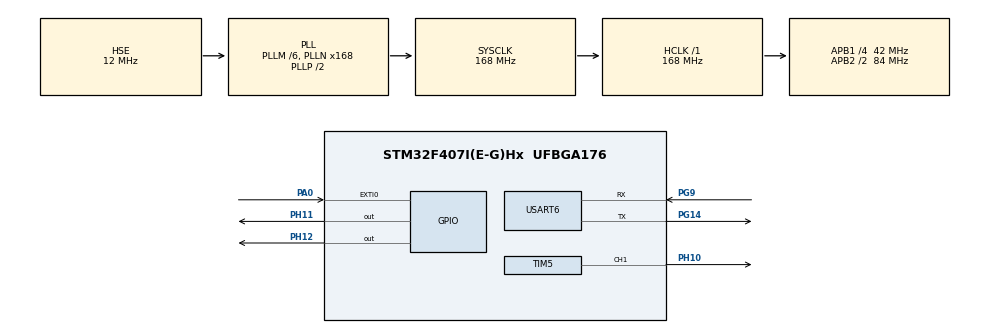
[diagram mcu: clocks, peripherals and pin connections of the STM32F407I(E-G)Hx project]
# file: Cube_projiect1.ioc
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Mcu.Family=STM32F4
Mcu.Name=STM32F407I(E-G)Hx
Mcu.Package=UFBGA176
NVIC.EXTI0_IRQn=true\:0\:0\:false\:false\:true\:true\:true\:true
NVIC.PriorityGroup=NVIC_PRIORITYGROUP_4
NVIC.USART6_IRQn=true\:0\:0\:false\:false\:true\:true\:true\:true
PA0-WKUP.GPIO_PuPd=GPIO_PULLDOWN
PA0-WKUP.Signal=GPXTI0
PA13.Mode=Serial_Wire
PA13.Signal=SYS_JTMS-SWDIO
PA14.Mode=Serial_Wire
PA14.Signal=SYS_JTCK-SWCLK
PG14.Mode=Asynchronous
PG14.Signal=USART6_TX
PG9.Mode=Asynchronous
PG9.Signal=USART6_RX
PH0-OSC_IN.Mode=HSE-External-Oscillator
PH0-OSC_IN.Signal=RCC_OSC_IN
PH1-OSC_OUT.Mode=HSE-External-Oscillator
PH1-OSC_OUT.Signal=RCC_OSC_OUT
PH10.Signal=S_TIM5_CH1
PH11.PinState=GPIO_PIN_SET
PH11.Signal=GPIO_Output
PH12.PinState=GPIO_PIN_SET
PH12.Signal=GPIO_Output
ProjectManager.HeapSize=0x200
ProjectManager.StackSize=0x400
ProjectManager.TargetToolchain=EWARM V8.50
RCC.48MHZClocksFreq_Value=84000000
RCC.AHBFreq_Value=168000000
RCC.APB1CLKDivider=RCC_HCLK_DIV4
RCC.APB1Freq_Value=42000000
RCC.APB1TimFreq_Value=84000000
RCC.APB2CLKDivider=RCC_HCLK_DIV2
RCC.APB2Freq_Value=84000000
RCC.APB2TimFreq_Value=168000000
RCC.CortexFreq_Value=168000000
RCC.HCLKFreq_Value=168000000
RCC.HSE_VALUE=12000000
RCC.HSI_VALUE=16000000
RCC.LSE_VALUE=32768
RCC.PLLM=6
RCC.PLLN=168
RCC.PLLSourceVirtual=RCC_PLLSOURCE_HSE
RCC.SYSCLKFreq_VALUE=168000000
RCC.SYSCLKSource=RCC_SYSCLKSOURCE_PLLCLK
RCC.VCOOutputFreq_Value=336000000
SH.S_TIM5_CH1.0=TIM5_CH1,PWM Generation1 CH1
TIM5.Channel-PWM\ Generation1\ CH1=TIM_CHANNEL_1
TIM5.Period=249
TIM5.Prescaler=83
USART6.VirtualMode=VM_ASYNC
VP_TIM5_VS_ClockSourceINT.Mode=Internal
board=custom

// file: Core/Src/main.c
/* USER CODE BEGIN Header */
/**
  ******************************************************************************
  * @file           : main.c
  * @brief          : Main program body
  ******************************************************************************
  * @attention
  *
  * Copyright (c) 2026 STMicroelectronics.
  * All rights reserved.
  *
  * This software is licensed under terms that can be found in the LICENSE file
  * in the root directory of this software component.
  * If no LICENSE file comes with this software, it is provided AS-IS.
  *
  ******************************************************************************
  */
/* USER CODE END Header */
#include "main.h"

/* USER CODE BEGIN Includes */
#include <string.h>
/* USER CODE END Includes */

TIM_HandleTypeDef htim5;

UART_HandleTypeDef huart6;

/* USER CODE BEGIN PV */
volatile uint8_t g_mode = 0U;    /* 0=两灯同步闪烁; 1=两灯交替闪烁（按键中断切换） */
uint8_t  rx_byte;                /* 串口每次收到 1 字节 */
char     cmd_buf[16];            /* 命令缓冲区 */
uint8_t  cmd_len = 0U;           /* 命令长度 */
volatile uint8_t g_send_ok = 0U; /* 需要回复 "OK" 的标志 */
/* USER CODE END PV */

void SystemClock_Config(void);
static void MX_GPIO_Init(void);
static void MX_TIM5_Init(void);
static void MX_USART6_UART_Init(void);

/* USER CODE BEGIN 0 */
/**
  * @brief  串口接收完成回调：每收到 1 字节调用一次（在中断里）
  * @note   收到一行后判断是不是 "change"，是就开启按键中断
  */
void HAL_UART_RxCpltCallback(UART_HandleTypeDef *huart)
{
  if (huart->Instance == USART6)
  {
    char c = (char)rx_byte;

    if ((c == '\r') || (c == '\n'))          /* 一行结束 */
    {
      cmd_buf[cmd_len] = '\0';
      if (strcmp(cmd_buf, "change") == 0)
      {
        g_mode ^= 1U;          /* 和按 PA0 一样：进入/退出中断模式 */
        g_send_ok = 1U;        /* 回一句 OK */
      }
      else if (strcmp(cmd_buf, "start") == 0)
      {
        g_send_ok = 1U;        /* 收到 start 回 OK（调试用） */
      }
      cmd_len = 0U;
    }
    else if (cmd_len < (sizeof(cmd_buf) - 1U))
    {
      cmd_buf[cmd_len++] = c;                  /* 拼接命令 */
    }

    HAL_UART_Receive_IT(&huart6, &rx_byte, 1U);  /* 继续收下一字节 */
  }
}
/* USER CODE END 0 */

int main(void)
{

  /* USER CODE BEGIN 1 */
  uint32_t blink_tick = HAL_GetTick();   /* 上次闪烁翻转时刻 */
  uint8_t  alt_level  = 0U;              /* 交替闪烁相位 */
  /* USER CODE END 1 */

  /* MCU Configuration--------------------------------------------------------*/

  /* Reset of all peripherals, Initializes the Flash interface and the Systick. */
  HAL_Init();

  /* Configure the system clock */
  SystemClock_Config();

  /* Initialize all configured peripherals */
  MX_GPIO_Init();
  MX_TIM5_Init();
  MX_USART6_UART_Init();
  /* USER CODE BEGIN 2 */
  HAL_TIM_PWM_Start(&htim5, TIM_CHANNEL_1);           /* 启动 PH10 (TIM5_CH1) PWM */
  __HAL_TIM_SET_COMPARE(&htim5, TIM_CHANNEL_1, 0U);   /* 初始占空比 0，灯灭 */

  /* 上电向电脑发送一条消息 */
  {
    const char boot[] = "I'm already\r\n";
    HAL_UART_Transmit(&huart6, (uint8_t *)boot, sizeof(boot) - 1U, 100U);
  }

  /* 按键中断保持开启：按 PA0 即可进入/退出中断模式 */
  HAL_NVIC_EnableIRQ(EXTI0_IRQn);

  /* 启动串口接收中断（每次收 1 字节） */
  HAL_UART_Receive_IT(&huart6, &rx_byte, 1U);
  /* USER CODE END 2 */

  /* Infinite loop */
  /* USER CODE BEGIN WHILE */
  while (1)
  {
    /* 收到 "change" 后回复一句 */
    if (g_send_ok != 0U)
    {
      const char ok[] = "OK\r\n";
      HAL_UART_Transmit(&huart6, (uint8_t *)ok, sizeof(ok) - 1U, 100U);
      g_send_ok = 0U;
    }

    /* ① PH11/PH12 闪烁（保留原逻辑：非中断同步、中断交替，500ms） */
    if ((HAL_GetTick() - blink_tick) >= 500U)
    {
      blink_tick = HAL_GetTick();

      if (g_mode == 0U)
      {
        HAL_GPIO_TogglePin(GPIOH, GPIO_PIN_11 | GPIO_PIN_12);   /* 同步闪烁 */
      }
      else
      {
        alt_level ^= 1U;                                        /* 交替闪烁 */
       /* HAL_GPIO_WritePin(GPIOH, GPIO_PIN_11, (alt_level != 0U) ? GPIO_PIN_SET : GPIO_PIN_RESET);
        HAL_GPIO_WritePin(GPIOH, GPIO_PIN_12, (alt_level != 0U) ? GPIO_PIN_RESET : GPIO_PIN_SET);*/
      }
    }

    /* ② 进入中断模式后开启 PH10 呼吸灯：用 for 循环做 渐亮 + 渐灭 */
    if (g_mode != 0U)
    {
      for (uint16_t duty = 0U; (duty <= 250U) && (g_mode != 0U); duty += 5U)
      {
        __HAL_TIM_SET_COMPARE(&htim5, TIM_CHANNEL_1, duty);     /* 渐亮 */
        HAL_Delay(10);
      }
      for (uint16_t duty = 250U; (duty > 0U) && (g_mode != 0U); duty -= 5U)
      {
        __HAL_TIM_SET_COMPARE(&htim5, TIM_CHANNEL_1, duty);     /* 渐灭 */
        HAL_Delay(10);
      }
    }
    else
    {
      __HAL_TIM_SET_COMPARE(&htim5, TIM_CHANNEL_1, 0U);         /* 非中断：PH10 灭 */
    }
    /* USER CODE END WHILE */

  }
}

void SystemClock_Config(void)
{
  RCC_OscInitTypeDef RCC_OscInitStruct = {0};
  RCC_ClkInitTypeDef RCC_ClkInitStruct = {0};

  /** Configure the main internal regulator output voltage
  */
  __HAL_RCC_PWR_CLK_ENABLE();
  __HAL_PWR_VOLTAGESCALING_CONFIG(PWR_REGULATOR_VOLTAGE_SCALE1);

  /** Initializes the RCC Oscillators according to the specified parameters
  * in the RCC_OscInitTypeDef structure.
  */
  RCC_OscInitStruct.OscillatorType = RCC_OSCILLATORTYPE_HSE;
  RCC_OscInitStruct.HSEState = RCC_HSE_ON;
  RCC_OscInitStruct.PLL.PLLState = RCC_PLL_ON;
  RCC_OscInitStruct.PLL.PLLSource = RCC_PLLSOURCE_HSE;
  RCC_OscInitStruct.PLL.PLLM = 6;
  RCC_OscInitStruct.PLL.PLLN = 168;
  RCC_OscInitStruct.PLL.PLLP = RCC_PLLP_DIV2;
  RCC_OscInitStruct.PLL.PLLQ = 4;
  if (HAL_RCC_OscConfig(&RCC_OscInitStruct) != HAL_OK)
  {
    Error_Handler();
  }

  /** Initializes the CPU, AHB and APB buses clocks
  */
  RCC_ClkInitStruct.ClockType = RCC_CLOCKTYPE_HCLK|RCC_CLOCKTYPE_SYSCLK
                              |RCC_CLOCKTYPE_PCLK1|RCC_CLOCKTYPE_PCLK2;
  RCC_ClkInitStruct.SYSCLKSource = RCC_SYSCLKSOURCE_PLLCLK;
  RCC_ClkInitStruct.AHBCLKDivider = RCC_SYSCLK_DIV1;
  RCC_ClkInitStruct.APB1CLKDivider = RCC_HCLK_DIV4;
  RCC_ClkInitStruct.APB2CLKDivider = RCC_HCLK_DIV2;

  if (HAL_RCC_ClockConfig(&RCC_ClkInitStruct, FLASH_LATENCY_5) != HAL_OK)
  {
    Error_Handler();
  }
}

static void MX_TIM5_Init(void)
{

  TIM_ClockConfigTypeDef sClockSourceConfig = {0};
  TIM_MasterConfigTypeDef sMasterConfig = {0};
  TIM_OC_InitTypeDef sConfigOC = {0};

  htim5.Instance = TIM5;
  htim5.Init.Prescaler = 83;
  htim5.Init.CounterMode = TIM_COUNTERMODE_UP;
  htim5.Init.Period = 249;
  htim5.Init.ClockDivision = TIM_CLOCKDIVISION_DIV1;
  htim5.Init.AutoReloadPreload = TIM_AUTORELOAD_PRELOAD_DISABLE;
  if (HAL_TIM_Base_Init(&htim5) != HAL_OK)
  {
    Error_Handler();
  }
  sClockSourceConfig.ClockSource = TIM_CLOCKSOURCE_INTERNAL;
  if (HAL_TIM_ConfigClockSource(&htim5, &sClockSourceConfig) != HAL_OK)
  {
    Error_Handler();
  }
  if (HAL_TIM_PWM_Init(&htim5) != HAL_OK)
  {
    Error_Handler();
  }
  sMasterConfig.MasterOutputTrigger = TIM_TRGO_RESET;
  sMasterConfig.MasterSlaveMode = TIM_MASTERSLAVEMODE_DISABLE;
  if (HAL_TIMEx_MasterConfigSynchronization(&htim5, &sMasterConfig) != HAL_OK)
  {
    Error_Handler();
  }
  sConfigOC.OCMode = TIM_OCMODE_PWM1;
  sConfigOC.Pulse = 0;
  sConfigOC.OCPolarity = TIM_OCPOLARITY_HIGH;
  sConfigOC.OCFastMode = TIM_OCFAST_DISABLE;
  if (HAL_TIM_PWM_ConfigChannel(&htim5, &sConfigOC, TIM_CHANNEL_1) != HAL_OK)
  {
    Error_Handler();
  }
  HAL_TIM_MspPostInit(&htim5);

}

static void MX_USART6_UART_Init(void)
{

  huart6.Instance = USART6;
  huart6.Init.BaudRate = 115200;
  huart6.Init.WordLength = UART_WORDLENGTH_8B;
  huart6.Init.StopBits = UART_STOPBITS_1;
  huart6.Init.Parity = UART_PARITY_NONE;
  huart6.Init.Mode = UART_MODE_TX_RX;
  huart6.Init.HwFlowCtl = UART_HWCONTROL_NONE;
  huart6.Init.OverSampling = UART_OVERSAMPLING_16;
  if (HAL_UART_Init(&huart6) != HAL_OK)
  {
    Error_Handler();
  }

}

static void MX_GPIO_Init(void)
{
  GPIO_InitTypeDef GPIO_InitStruct = {0};

  /* GPIO Ports Clock Enable */
  __HAL_RCC_GPIOG_CLK_ENABLE();
  __HAL_RCC_GPIOA_CLK_ENABLE();
  __HAL_RCC_GPIOH_CLK_ENABLE();

  /*Configure GPIO pin Output Level */
  HAL_GPIO_WritePin(GPIOH, GPIO_PIN_12|GPIO_PIN_11, GPIO_PIN_SET);

  /*Configure GPIO pins : PH12 PH11 */
  GPIO_InitStruct.Pin = GPIO_PIN_12|GPIO_PIN_11;
  GPIO_InitStruct.Mode = GPIO_MODE_OUTPUT_PP;
  GPIO_InitStruct.Pull = GPIO_NOPULL;
  GPIO_InitStruct.Speed = GPIO_SPEED_FREQ_LOW;
  HAL_GPIO_Init(GPIOH, &GPIO_InitStruct);

  /*Configure GPIO pin : PA0 */
  GPIO_InitStruct.Pin = GPIO_PIN_0;
  GPIO_InitStruct.Mode = GPIO_MODE_IT_RISING;
  GPIO_InitStruct.Pull = GPIO_PULLDOWN;
  HAL_GPIO_Init(GPIOA, &GPIO_InitStruct);

  /* EXTI interrupt init*/
  HAL_NVIC_SetPriority(EXTI0_IRQn, 0, 0);
  HAL_NVIC_EnableIRQ(EXTI0_IRQn);

}

void Error_Handler(void)
{
  __disable_irq();
  while (1)
  {
  }
}
